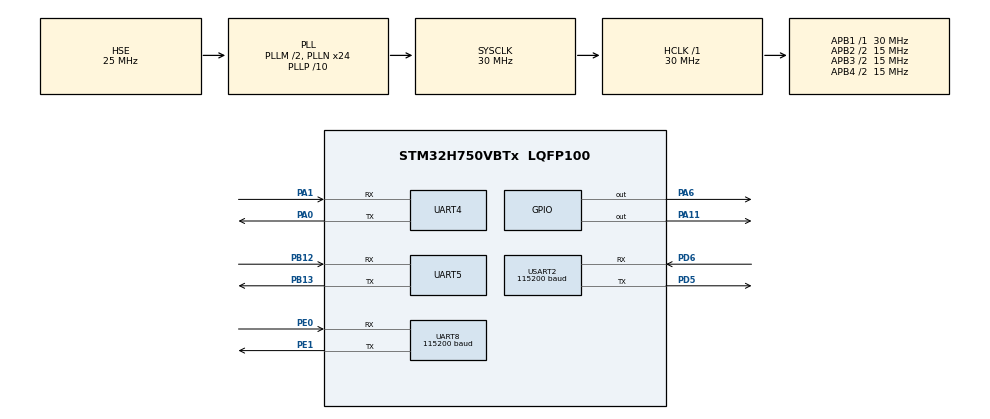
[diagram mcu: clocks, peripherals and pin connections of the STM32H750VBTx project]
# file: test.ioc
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Mcu.Family=STM32H7
Mcu.Name=STM32H750VBTx
Mcu.Package=LQFP100
NVIC.PriorityGroup=NVIC_PRIORITYGROUP_4
NVIC.UART4_IRQn=true\:0\:0\:false\:false\:true\:true\:true\:true
NVIC.UART5_IRQn=true\:0\:0\:false\:false\:true\:true\:true\:true
NVIC.UART8_IRQn=true\:0\:0\:false\:false\:true\:true\:true\:true
NVIC.USART2_IRQn=true\:0\:0\:false\:false\:true\:true\:true\:true
PA0.Mode=Asynchronous
PA0.Signal=UART4_TX
PA1.Mode=Asynchronous
PA1.Signal=UART4_RX
PA11.GPIO_ModeDefaultOutputPP=GPIO_MODE_OUTPUT_PP
PA11.GPIO_PuPd=GPIO_NOPULL
PA11.GPIO_Speed=GPIO_SPEED_FREQ_MEDIUM
PA11.PinState=GPIO_PIN_RESET
PA11.Signal=GPIO_Output
PA6.GPIO_PuPd=GPIO_NOPULL
PA6.GPIO_Speed=GPIO_SPEED_FREQ_MEDIUM
PA6.PinState=GPIO_PIN_RESET
PA6.Signal=GPIO_Output
PB12.Mode=Asynchronous
PB12.Signal=UART5_RX
PB13.Mode=Asynchronous
PB13.Signal=UART5_TX
PD5.Mode=Asynchronous
PD5.Signal=USART2_TX
PD6.Mode=Asynchronous
PD6.Signal=USART2_RX
PE0.Mode=Asynchronous
PE0.Signal=UART8_RX
PE1.Mode=Asynchronous
PE1.Signal=UART8_TX
PH0-OSC_IN\ (PH0).Mode=HSE-External-Oscillator
PH0-OSC_IN\ (PH0).Signal=RCC_OSC_IN
PH1-OSC_OUT\ (PH1).Mode=HSE-External-Oscillator
PH1-OSC_OUT\ (PH1).Signal=RCC_OSC_OUT
ProjectManager.HeapSize=0x200
ProjectManager.StackSize=0x400
ProjectManager.TargetToolchain=MDK-ARM V5.32
RCC.ADCFreq_Value=50390625
RCC.APB1Freq_Value=30000000
RCC.APB2Freq_Value=15000000
RCC.APB3Freq_Value=15000000
RCC.APB4Freq_Value=15000000
RCC.CortexFreq_Value=30000000
RCC.D1PPRE=RCC_APB3_DIV2
RCC.D2PPRE2=RCC_APB2_DIV2
RCC.D3PPRE=RCC_APB4_DIV2
RCC.DIVM1=2
RCC.DIVN1=24
RCC.DIVP1=10
RCC.DIVQ1=5
RCC.HCLKFreq_Value=30000000
RCC.HSE_VALUE=25000000
RCC.PLLFRACN=0
RCC.PLLSourceVirtual=RCC_PLLSOURCE_HSE
RCC.SYSCLKFreq_VALUE=30000000
RCC.SYSCLKSource=RCC_SYSCLKSOURCE_PLLCLK
RCC.USBFreq_Value=60000000
TIM3.Prescaler=8000-1
TIM4.Prescaler=8000-1
UART8.BaudRate=115200
USART2.BaudRate=115200
USART2.VirtualMode-Asynchronous=VM_ASYNC
VP_MEMORYMAP_VS_MEMORYMAP.Mode=CurAppReg
VP_TIM3_VS_ClockSourceINT.Mode=Internal
VP_TIM4_VS_ClockSourceINT.Mode=Internal
board=custom

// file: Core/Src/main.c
/* USER CODE BEGIN Header */
/**
  ******************************************************************************
  * @file           : main.c
  * @brief          : Main program body
  ******************************************************************************
  * @attention
  *
  * Copyright (c) 2025 STMicroelectronics.
  * All rights reserved.
  *
  * This software is licensed under terms that can be found in the LICENSE file
  * in the root directory of this software component.
  * If no LICENSE file comes with this software, it is provided AS-IS.
  *
  ******************************************************************************
  */
/* USER CODE END Header */
#include "main.h"
#include "memorymap.h"
#include "tim.h"
#include "usart.h"
#include "gpio.h"

/* USER CODE BEGIN Includes */
#include  "headfile.h"
#include <string.h>
#include <stdio.h>
/* USER CODE END Includes */

void SystemClock_Config(void);
/* USER CODE BEGIN PFP */
void Send_Double_Array(UART_HandleTypeDef *huart, double *array, uint8_t size);
/* USER CODE END PFP */

/* USER CODE BEGIN 0 */

uint8_t rec_flag = 0;
uint8_t rec_data;

uint8_t i;
uint8_t rec_buff[7];

long long count,temp;

/* USER CODE END 0 */

int main(void)
{

  /* USER CODE BEGIN 1 */

    initRingBuffer();        //��ʼ�����λ�����
    HAL_UART_Receive_IT(&TJC_UART, RxBuffer, 1);    //�򿪴��ڽ����ж�

  /* USER CODE END 1 */

  /* MCU Configuration--------------------------------------------------------*/

  /* Reset of all peripherals, Initializes the Flash interface and the Systick. */
  HAL_Init();

  /* Configure the system clock */
  SystemClock_Config();

  /* Initialize all configured peripherals */
  MX_GPIO_Init();
  MX_UART8_Init();
  MX_USART2_UART_Init();
  MX_TIM4_Init();
  MX_TIM3_Init();
  MX_UART4_Init();
  MX_UART5_Init();
  /* USER CODE BEGIN 2 */

	HAL_UART_Receive_IT(&huart4,&rec_data,1);

  /* USER CODE END 2 */

  /* Infinite loop */
  /* USER CODE BEGIN WHILE */
  while (1)
	{
		if(rec_flag >= 6)
		{
			temp =0;
			rec_flag =0;
			for (int i = 0; i < 7; i++)
			{
        temp = temp  * 10 + rec_buff [i];
			}
			process_data(temp);
			SF(temp);
			jxb_catchwire1();
			jxb_catchwire2();
		}

	}

    /* USER CODE END WHILE */

}

void SystemClock_Config(void)
{
  RCC_OscInitTypeDef RCC_OscInitStruct = {0};
  RCC_ClkInitTypeDef RCC_ClkInitStruct = {0};

  /** Supply configuration update enable
  */
  HAL_PWREx_ConfigSupply(PWR_LDO_SUPPLY);

  /** Configure the main internal regulator output voltage
  */
  __HAL_PWR_VOLTAGESCALING_CONFIG(PWR_REGULATOR_VOLTAGE_SCALE3);

  while(!__HAL_PWR_GET_FLAG(PWR_FLAG_VOSRDY)) {}

  /** Initializes the RCC Oscillators according to the specified parameters
  * in the RCC_OscInitTypeDef structure.
  */
  RCC_OscInitStruct.OscillatorType = RCC_OSCILLATORTYPE_HSE;
  RCC_OscInitStruct.HSEState = RCC_HSE_ON;
  RCC_OscInitStruct.PLL.PLLState = RCC_PLL_ON;
  RCC_OscInitStruct.PLL.PLLSource = RCC_PLLSOURCE_HSE;
  RCC_OscInitStruct.PLL.PLLM = 2;
  RCC_OscInitStruct.PLL.PLLN = 24;
  RCC_OscInitStruct.PLL.PLLP = 10;
  RCC_OscInitStruct.PLL.PLLQ = 5;
  RCC_OscInitStruct.PLL.PLLR = 2;
  RCC_OscInitStruct.PLL.PLLRGE = RCC_PLL1VCIRANGE_3;
  RCC_OscInitStruct.PLL.PLLVCOSEL = RCC_PLL1VCOWIDE;
  RCC_OscInitStruct.PLL.PLLFRACN = 0;
  if (HAL_RCC_OscConfig(&RCC_OscInitStruct) != HAL_OK)
  {
    Error_Handler();
  }

  /** Initializes the CPU, AHB and APB buses clocks
  */
  RCC_ClkInitStruct.ClockType = RCC_CLOCKTYPE_HCLK|RCC_CLOCKTYPE_SYSCLK
                              |RCC_CLOCKTYPE_PCLK1|RCC_CLOCKTYPE_PCLK2
                              |RCC_CLOCKTYPE_D3PCLK1|RCC_CLOCKTYPE_D1PCLK1;
  RCC_ClkInitStruct.SYSCLKSource = RCC_SYSCLKSOURCE_PLLCLK;
  RCC_ClkInitStruct.SYSCLKDivider = RCC_SYSCLK_DIV1;
  RCC_ClkInitStruct.AHBCLKDivider = RCC_HCLK_DIV1;
  RCC_ClkInitStruct.APB3CLKDivider = RCC_APB3_DIV2;
  RCC_ClkInitStruct.APB1CLKDivider = RCC_APB1_DIV1;
  RCC_ClkInitStruct.APB2CLKDivider = RCC_APB2_DIV2;
  RCC_ClkInitStruct.APB4CLKDivider = RCC_APB4_DIV2;

  if (HAL_RCC_ClockConfig(&RCC_ClkInitStruct, FLASH_LATENCY_0) != HAL_OK)
  {
    Error_Handler();
  }
}

/* USER CODE BEGIN 4 */

void HAL_UART_RxCpltCallback(UART_HandleTypeDef *huart)
{
	if(huart->Instance == UART4)
	{
		rec_buff[rec_flag] =atoi(&rec_data);
		rec_flag++;
		HAL_UART_Receive_IT(&huart4,&rec_data, 1);
	}
}

void HAL_UART_ErrorCallback(UART_HandleTypeDef *huart)
{
    if (huart->Instance == UART4)
		{
       __HAL_UART_CLEAR_FLAG(huart, UART_CLEAR_OREF);
       HAL_UART_Receive_IT(&huart4, &rec_data, 1);
    }
}

int fputc(int ch, FILE *f)
{
    HAL_UART_Transmit(&huart5, (uint8_t *)&ch, 1, HAL_MAX_DELAY);
    return ch;
}

/* USER CODE END 4 */

void Error_Handler(void)
{
  __disable_irq();
  while (1)
  {
  }
}
